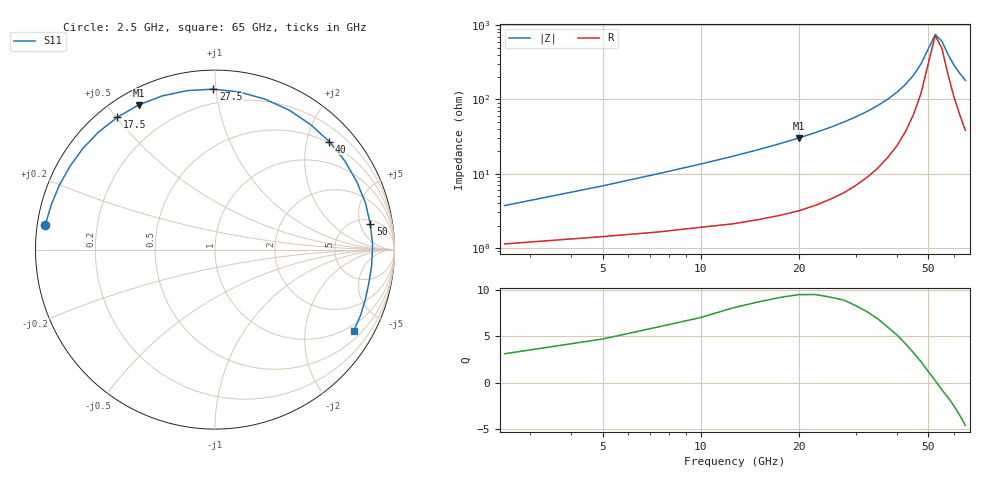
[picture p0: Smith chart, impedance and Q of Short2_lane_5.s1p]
! File created by SignalIntegrity v1.5.1: Signal and Power Integrity Tools
! https://github.com/Nubis-Communications/SignalIntegrity
# MHz S MA R 50.0
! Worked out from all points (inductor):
!   26 points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, 2.5 GHz to 65 GHz, reference 50 ohm
!   read as one part to ground: L = 211 pH near 2.5 GHz
!   highest Q = 9.51 at 20 GHz (marker M1), where L = 239 pH
!   self-resonance near 53.31 GHz
!   S11 on the Smith chart (normalised r, x): 2.5 GHz: 0.02, +0.07; 17.5 GHz: 0.05, +0.50; 27.5 GHz: 0.11, +0.98; 40 GHz: 0.47, +2.44; 50 GHz: 6.10, +7.42; 65 GHz: 0.77, -3.53
2500  0.956 171.9
5000  0.9458 164.7
7500  0.9386 157.4
10000  0.9317 150.1
12500  0.9273 142.5
15000  0.9216 134.6
17500  0.9163 126.4
20000  0.9113 117.9
22500  0.9056 109.0
25000  0.899 99.9
27500  0.8942 90.6
30000  0.8881 81.0
32500  0.8836 71.5
35000  0.8802 61.9
37500  0.8768 52.5
40000  0.8763 43.3
42500  0.8757 34.3
45000  0.8756 25.7
47500  0.8777 17.3
50000  0.8767 9.2
52500  0.8784 1.8
55000  0.8773 -5.6
57500  0.8772 -12.0
60000  0.8826 -18.4
62500  0.8897 -24.3
65000  0.896 -30.4
